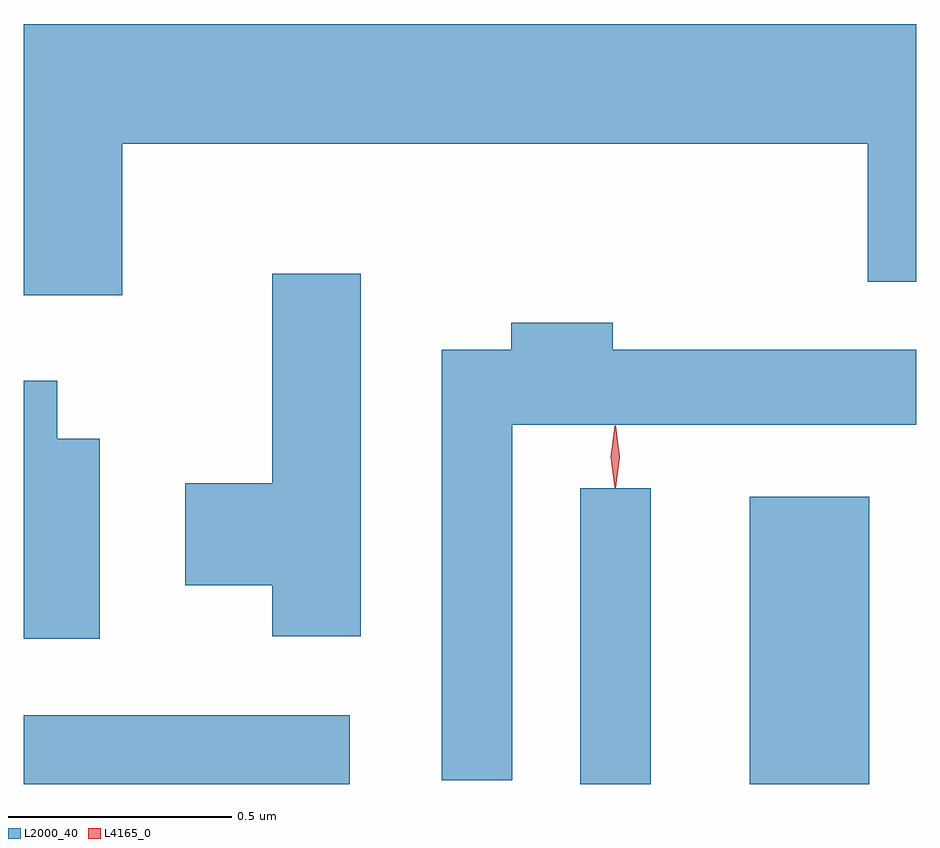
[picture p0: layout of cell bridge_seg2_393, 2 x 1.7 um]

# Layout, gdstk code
import gdstk
lib = gdstk.Library(unit=1e-6, precision=1e-09)
def R(c, l, rs):  # rectangles x0, y0, x1, y1
    for r in rs: c.add(gdstk.rectangle(r[:2], r[2:], *l))
def P(c, l, *ps):  # polygons
    for p in ps: c.add(gdstk.Polygon(p, *l))
L2000_40 = (2000, 40)
L4165_0 = (4165, 0)

bridge_seg2_393 = lib.new_cell('bridge_seg2_393')
R(bridge_seg2_393, L2000_40, [(631.359,1013.58,632.089,1013.734), (632.606,1013.58,632.764,1014.243), (632.986,1013.58,633.254,1014.224)])
P(bridge_seg2_393, L2000_40, [(631.579,1015.016),(633.251,1015.016),(633.251,1014.706),(633.359,1014.706),(633.359,1015.284),(631.359,1015.284),(631.359,1014.676),(631.579,1014.676)],
  [(632.114,1014.724),(631.916,1014.724),(631.916,1014.254),(631.721,1014.254),(631.721,1014.026),(631.916,1014.026),(631.916,1013.911),(632.114,1013.911)],
  [(632.454,1014.386),(633.359,1014.386),(633.359,1014.554),(632.679,1014.554),(632.679,1014.614),(632.451,1014.614),(632.451,1014.554),(632.296,1014.554),(632.296,1013.588),(632.454,1013.588)],
  [(631.529,1014.354),(631.434,1014.354),(631.434,1014.484),(631.359,1014.484),(631.359,1013.906),(631.529,1013.906)])
P(bridge_seg2_393, L4165_0, [(632.684,1014.244),(632.675,1014.313),(632.684,1014.383),(632.685,1014.383),(632.686,1014.383),(632.695,1014.313),(632.686,1014.244),(632.685,1014.244)],
  [(632.685,1014.247),(632.684,1014.248),(632.675,1014.314),(632.684,1014.38),(632.685,1014.381),(632.686,1014.38),(632.695,1014.314),(632.686,1014.248)])

lib.write_gds('bridge_seg2_393.gds')
